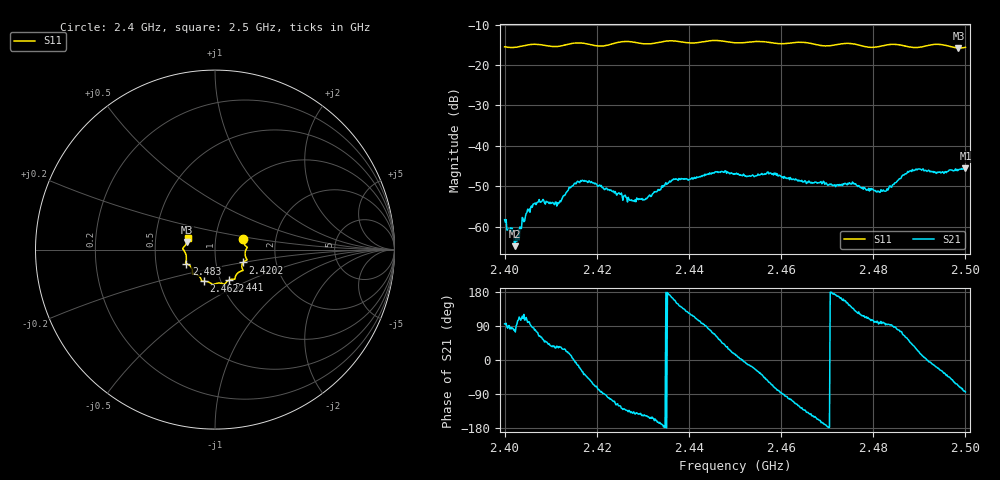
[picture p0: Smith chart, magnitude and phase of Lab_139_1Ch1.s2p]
# Hz S RI R 50
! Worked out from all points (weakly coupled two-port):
!   601 points, 2.4 GHz to 2.5 GHz, reference 50 ohm
!   highest |S21| = -45.63 dB at 2.5 GHz (marker M1); lowest = -64.9 dB at 2.4022 GHz (marker M2)
!   lowest |S11| = -15.8 dB at 2.4985 GHz (marker M3), VSWR 1.39, Z = 36.4 + j3.13 ohm
!   |S11| at or under -10 dB: start of sweep to end of sweep
!   S12 and S22 are empty: the file has one direction only
!   S11 on the Smith chart (normalised r, x): 2.4 GHz: 1.36, +0.17; 2.4202 GHz: 1.35, -0.20; 2.441 GHz: 1.10, -0.39; 2.4622 GHz: 0.83, -0.30; 2.483 GHz: 0.72, -0.12; 2.5 GHz: 0.73, +0.09
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2.4e9  0.1565 0.0602  -0.000114 0.00121  0 0  0 0
2.402167e9  0.1615 0.0345  9.32e-05 0.000563  0 0  0 0
2.402667e9  0.1638 0.0294  -5.17e-05 0.000658  0 0  0 0
2.404333e9  0.1733 0.0182  -0.000304 0.00112  0 0  0 0
2.406167e9  0.1794 0.0134  0.000156 0.00189  0 0  0 0
2.411833e9  0.1679 -0.0284  0.0016 0.00114  0 0  0 0
2.4145e9  0.1765 -0.0527  0.00308 0.000562  0 0  0 0
2.416667e9  0.1776 -0.0584  0.00324 -0.00164  0 0  0 0
2.420167e9  0.156 -0.0718  0.000794 -0.00305  0 0  0 0
2.427667e9  0.1531 -0.1173  -0.00158 -0.00136  0 0  0 0
2.433333e9  0.1129 -0.1522  -0.00277 -0.000787  0 0  0 0
2.436833e9  0.1089 -0.1654  -0.00356 0.00145  0 0  0 0
2.441e9  0.0769 -0.1705  -0.00169 0.00354  0 0  0 0
2.45e9  0.0266 -0.1862  0.00427 0.0012  0 0  0 0
2.457333e9  -0.0204 -0.1894  0.00233 -0.00384  0 0  0 0
2.462167e9  -0.063 -0.1763  -0.000941 -0.00379  0 0  0 0
2.466667e9  -0.0766 -0.167  -0.00296 -0.00191  0 0  0 0
2.483e9  -0.1591 -0.0779  -0.000176 0.00292  0 0  0 0
2.483333e9  -0.1608 -0.0772  -0.000207 0.00293  0 0  0 0
2.488e9  -0.1593 -0.0483  0.00335 0.00353  0 0  0 0
2.4985e9  -0.1565 0.0419  0.00187 -0.00466  0 0  0 0
2.5e9  -0.153 0.0625  0.000528 -0.0052  0 0  0 0
